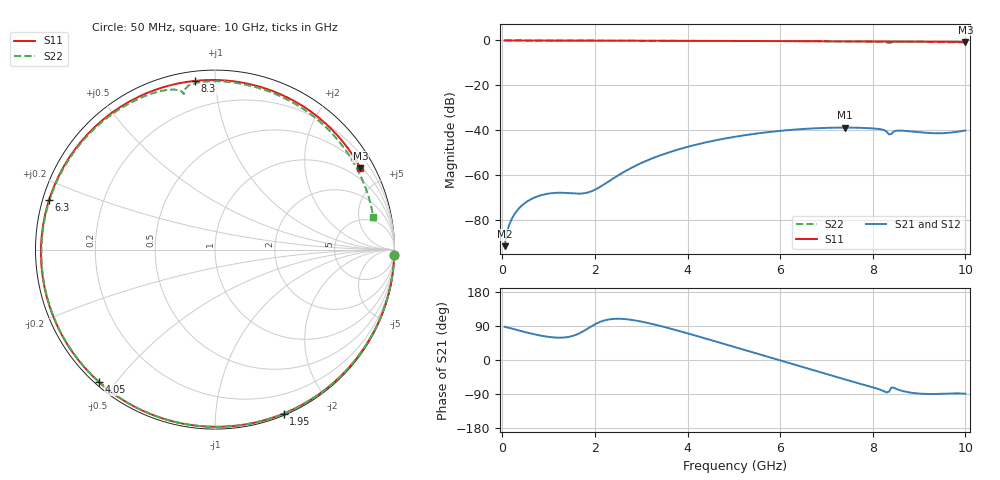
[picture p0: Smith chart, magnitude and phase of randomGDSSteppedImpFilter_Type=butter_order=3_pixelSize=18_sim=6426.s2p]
! freq	dB(S11)	phase(S11)	dB(S12)	phase(S12)
!  dB(S21)	phase(S21)	dB(S22)	phase(S22)
!S-par simulation data
#  GHz  S  DB  R 50
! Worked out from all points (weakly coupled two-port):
!   200 points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, 50 MHz to 10 GHz, reference 50 ohm
!   highest |S21| = -38.76 dB at 7.4 GHz (marker M1); lowest = -91.5 dB at 50 MHz (marker M2)
!   lowest |S11| = -0.6 dB at 10 GHz (marker M3), VSWR 27.03, Z = 28.4 + j188 ohm
!   |S11| at or under -10 dB: nowhere
!   |S22| runs from -1.1 to 0.0 dB; largest |S21 - S12| = 0
!   S11 on the Smith chart (normalised r, x): 50 MHz: 1, -63; 1.95 GHz: 0.02, -1.50; 4.05 GHz: 0.01, -0.45; 6.3 GHz: 0.02, +0.15; 8.3 GHz: 0.05, +0.89; 10 GHz: 0.57, +3.75
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0.05  -0.01 -1.8  -91.53 87.7  -91.53 87.7  -0.00 -1.7
0.2  -0.01 -7.2  -79.59 83.1  -79.59 83.1  -0.01 -6.8
0.45  -0.02 -16.1  -72.95 75.0  -72.95 75.0  -0.02 -15.2
0.8  -0.03 -28.4  -69.09 65.1  -69.09 65.1  -0.03 -26.9
1.15  -0.05 -40.5  -67.81 59.2  -67.81 59.2  -0.05 -38.5
1.75  -0.08 -60.8  -68.03 75.9  -68.03 75.9  -0.07 -57.7
1.95  -0.08 -67.3  -66.91 90.6  -66.91 90.6  -0.08 -64.0
2.65  -0.11 -89.6  -58.23 107.9  -58.23 107.9  -0.10 -85.2
3.4  -0.14 -112.3  -51.20 90.2  -51.20 90.2  -0.13 -106.9
4.05  -0.17 -131.3  -47.07 68.6  -47.07 68.6  -0.16 -125.0
5.05  -0.22 -160.0  -42.76 33.0  -42.76 33.0  -0.22 -152.3
5.7  -0.27 -178.7  -40.89 9.5  -40.89 9.5  -0.26 -170.3
6.3  -0.31 163.4  -39.67 -12.2  -39.67 -12.2  -0.31 172.4
6.7  -0.34 151.1  -39.14 -26.6  -39.14 -26.6  -0.35 160.3
7.4  -0.40 128.4  -38.76 -51.3  -38.76 -51.3  -0.43 137.4
7.95  -0.45 109.4  -39.07 -70.3  -39.07 -70.3  -0.52 117.0
8.3  -0.48 96.7  -40.56 -85.6  -40.56 -85.6  -0.87 102.2
8.35  -0.48 94.8  -41.80 -83.6  -41.80 -83.6  -1.07 101.3
8.65  -0.51 83.5  -40.16 -82.0  -40.16 -82.0  -0.56 88.7
9.15  -0.55 64.0  -41.08 -89.6  -41.08 -89.6  -0.65 63.3
9.55  -0.59 47.8  -41.21 -88.8  -41.21 -88.8  -0.76 40.6
10  -0.64 29.3  -40.04 -88.9  -40.04 -88.9  -0.91 11.7
